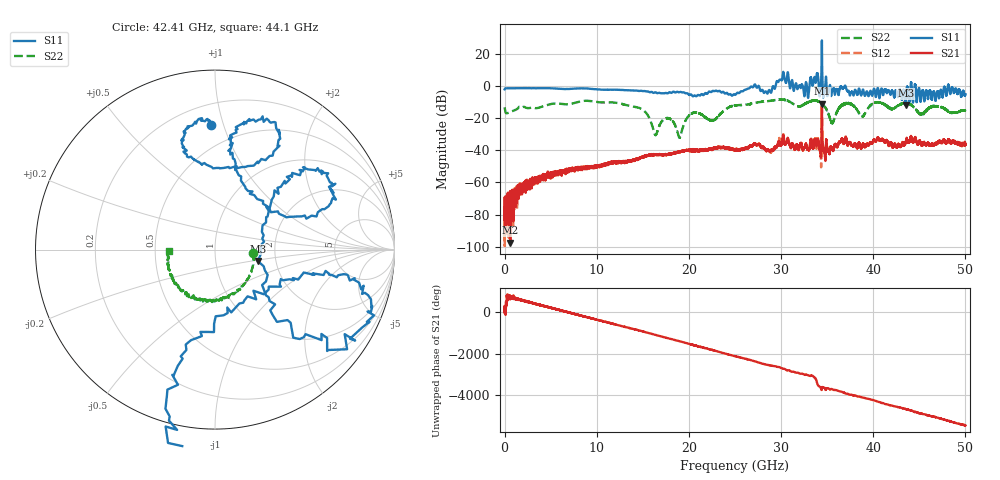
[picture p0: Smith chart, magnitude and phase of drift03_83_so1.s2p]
!Created with skrf (http://scikit-rf.org).
# Hz S RI R 50.0
!freq ReS11 ImS11 ReS21 ImS21 ReS12 ImS12 ReS22 ImS22
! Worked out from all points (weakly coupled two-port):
!   10000 points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, 5.3 MHz to 50 GHz, reference 50 ohm
!   highest |S21| = -10.99 dB at 34.43 GHz (marker M1); lowest = -97.5 dB at 620.3 MHz (marker M2)
!   lowest |S11| = -12.2 dB at 43.53 GHz (marker M3), VSWR 1.66, Z = 80.4 - j10.9 ohm
!   |S11| at or under -10 dB: 43.48623 GHz to 43.54314 GHz (56.91 MHz wide, 0.131 % of centre); 44.31029 GHz to 44.32815 GHz (17.87 MHz wide, 0.0403 % of centre); 44.70456 GHz to 44.71148 GHz (6.914 MHz wide, 0.0155 % of centre) (the widest 3 of 5)
!   |S22| runs from -32.2 to -8.4 dB; largest |S21 - S12| = 0.083
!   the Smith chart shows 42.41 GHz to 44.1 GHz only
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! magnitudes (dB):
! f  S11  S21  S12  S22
! 5.3 MHz  -2.1  -80.3  -72.7  -13.3
! 620.3 MHz  -1.4  -97.5  -68.7  -16.2
! 3.185 GHz  -1.4  -57.8  -58.8  -13.6
! 8.34 GHz  -1.5  -50.2  -51.0  -9.5
! 14.6 GHz  -3.1  -44.9  -45.3  -13.7
! 16.67 GHz  -4.4  -42.8  -42.8  -26.6
! 17.79 GHz  -4.3  -42.3  -42.3  -20.1
! 19 GHz  -3.9  -41.0  -41.1  -32.2
! 20.32 GHz  -5.8  -39.4  -40.1  -17.0
! 22.6 GHz  -3.1  -39.0  -38.8  -21.4
! 25.01 GHz  -5.5  -39.9  -39.5  -12.2
! 28.72 GHz  -2.5  -40.5  -40.4  -9.3
! 30.14 GHz  4.4  -33.8  -34.1  -8.5
! 32.74 GHz  2.0  -36.7  -36.6  -10.7
! 33.34 GHz  2.7  -34.7  -35.2  -9.3
! 34.43 GHz  28.3  -11.0  -12.9  -10.8
! 35.55 GHz  -2.9  -38.7  -39.1  -22.9
! 36.97 GHz  0.1  -32.5  -32.8  -10.8
! 38.78 GHz  -4.5  -38.1  -37.9  -19.0
! 41.67 GHz  -2.8  -36.8  -36.7  -13.0
! 43.53 GHz  -12.2  -34.9  -34.9  -10.5
! 50 GHz  -5.2  -36.6  -36.1  -15.5
